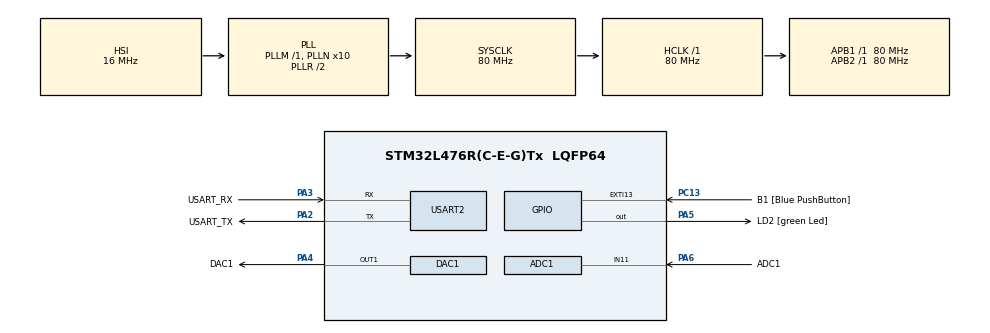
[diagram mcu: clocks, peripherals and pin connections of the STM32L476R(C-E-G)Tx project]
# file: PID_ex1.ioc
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ADC1.Channel-1\#ChannelRegularConversion=ADC_CHANNEL_11
ADC1.NbrOfConversionFlag=1
ADC1.OffsetNumber-1\#ChannelRegularConversion=ADC_OFFSET_NONE
ADC1.Rank-1\#ChannelRegularConversion=1
ADC1.SamplingTime-1\#ChannelRegularConversion=ADC_SAMPLETIME_2CYCLES_5
ADC1.master=1
Mcu.Family=STM32L4
Mcu.Name=STM32L476R(C-E-G)Tx
Mcu.Package=LQFP64
Mcu.UserConstants=TIM_PRESCALER,799;TIM_PERIOD,99
NVIC.ADC1_2_IRQn=true\:6\:0\:true\:false\:true\:true\:true\:true
NVIC.EXTI15_10_IRQn=true\:0\:0\:false\:false\:true\:true\:true\:true
NVIC.PriorityGroup=NVIC_PRIORITYGROUP_4
NVIC.USART2_IRQn=true\:5\:0\:true\:false\:true\:true\:true\:true
PA13\ (JTMS-SWDIO).GPIO_Label=TMS
PA13\ (JTMS-SWDIO).Mode=Serial_Wire
PA13\ (JTMS-SWDIO).Signal=SYS_JTMS-SWDIO
PA14\ (JTCK-SWCLK).GPIO_Label=TCK
PA14\ (JTCK-SWCLK).Mode=Serial_Wire
PA14\ (JTCK-SWCLK).Signal=SYS_JTCK-SWCLK
PA2.GPIO_Label=USART_TX
PA2.GPIO_Mode=GPIO_MODE_AF_PP
PA2.GPIO_PuPd=GPIO_NOPULL
PA2.GPIO_Speed=GPIO_SPEED_FREQ_VERY_HIGH
PA2.Mode=Asynchronous
PA2.Signal=USART2_TX
PA3.GPIO_Label=USART_RX
PA3.GPIO_Mode=GPIO_MODE_AF_PP
PA3.GPIO_PuPd=GPIO_NOPULL
PA3.GPIO_Speed=GPIO_SPEED_FREQ_VERY_HIGH
PA3.Mode=Asynchronous
PA3.Signal=USART2_RX
PA4.GPIO_Label=DAC1
PA4.Signal=COMP_DAC11_group
PA5.GPIO_Label=LD2 [green Led]
PA5.GPIO_ModeDefaultOutputPP=GPIO_MODE_OUTPUT_PP
PA5.GPIO_PuPd=GPIO_NOPULL
PA5.GPIO_Speed=GPIO_SPEED_FREQ_LOW
PA5.Signal=GPIO_Output
PA6.GPIO_Label=ADC1
PA6.Signal=ADCx_IN11
PB3\ (JTDO-TRACESWO).GPIO_Label=SWO
PB3\ (JTDO-TRACESWO).Signal=SYS_JTDO-SWO
PC13.GPIO_Label=B1 [Blue PushButton]
PC13.GPIO_ModeDefaultEXTI=GPIO_MODE_IT_FALLING
PC13.GPIO_PuPd=GPIO_NOPULL
PC13.Signal=GPXTI13
PC14-OSC32_IN\ (PC14).Mode=LSE-External-Oscillator
PC14-OSC32_IN\ (PC14).Signal=RCC_OSC32_IN
PC15-OSC32_OUT\ (PC15).Mode=LSE-External-Oscillator
PC15-OSC32_OUT\ (PC15).Signal=RCC_OSC32_OUT
PH0-OSC_IN\ (PH0).Signal=RCC_OSC_IN
PH1-OSC_OUT\ (PH1).Signal=RCC_OSC_OUT
ProjectManager.HeapSize=0x200
ProjectManager.StackSize=0x400
ProjectManager.TargetToolchain=CMake
RCC.ADCFreq_Value=64000000
RCC.AHBFreq_Value=80000000
RCC.APB1Freq_Value=80000000
RCC.APB1TimFreq_Value=80000000
RCC.APB2Freq_Value=80000000
RCC.APB2TimFreq_Value=80000000
RCC.CortexFreq_Value=80000000
RCC.HCLKFreq_Value=80000000
RCC.HSE_VALUE=8000000
RCC.HSI_VALUE=16000000
RCC.MSI_VALUE=4000000
RCC.PLLN=10
RCC.PLLSourceVirtual=RCC_PLLSOURCE_HSI
RCC.PREFETCH_ENABLE=1
RCC.SYSCLKFreq_VALUE=80000000
RCC.SYSCLKSource=RCC_SYSCLKSOURCE_PLLCLK
RCC.USBFreq_Value=64000000
RCC.VCOOutputFreq_Value=160000000
SH.ADCx_IN11.0=ADC1_IN11,IN11-Single-Ended
SH.COMP_DAC11_group.0=DAC1_OUT1,DAC_OUT1
TIM6.Period=TIM_PERIOD
TIM6.Prescaler=TIM_PRESCALER
TIM6.TIM_MasterOutputTrigger=TIM_TRGO_UPDATE
USART2.VirtualMode-Asynchronous=VM_ASYNC
VP_TIM6_VS_ClockSourceINT.Mode=Enable_Timer
board=NUCLEO-L476RG

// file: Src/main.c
/* USER CODE BEGIN Header */
/**
 ******************************************************************************
 * @file           : main.c
 * @brief          : Main program body
 ******************************************************************************
 * @attention
 *
 * <h2><center>&copy; Copyright (c) 2019 STMicroelectronics.
 * All rights reserved.</center></h2>
 *
 * This software component is licensed by ST under BSD 3-Clause license,
 * the "License"; You may not use this file except in compliance with the
 * License. You may obtain a copy of the License at:
 *                        opensource.org/licenses/BSD-3-Clause
 *
 ******************************************************************************
 */
/* USER CODE END Header */
#include "main.h"
#include "adc.h"
#include "dac.h"
#include "tim.h"
#include "usart.h"
#include "gpio.h"

/* USER CODE BEGIN Includes */
#include <math.h>
#include <stdint.h>
#include <stdio.h>
#include <stdlib.h>
#include "FreeRTOS.h"
#include "task.h"
#include "queue.h"
#include "semphr.h"

// --> include all necessary headers for
// printf() redirection
// FreeRTOS related headers
#include "pid.h"

/* USER CODE END Includes */

void SystemClock_Config(void);

/* USER CODE BEGIN 0 */

#define RX_QUEUE_SIZE 64
#define LINE_BUFF_SIZE 64

#define SET_VAL_DT 500
int _write(int file, char *ptr, int len) {
        HAL_UART_Transmit(&huart2, (uint8_t*) ptr, len, 50);
        return len;
}

SemaphoreHandle_t set_val_mutex;
QueueHandle_t measured_queue;
QueueHandle_t desired_queue;
QueueHandle_t ctrl_params_queue;
QueueHandle_t control_queue;

typedef struct
{
  float kp, ki, kd;
  float e, e_prev, e_sum;
} pid_t;

typedef struct
{
  float a, b, c;
} sin_control_t;

QueueHandle_t rx_queue;
uint8_t rx_byte;

uint32_t convert_to_mv(uint16_t control)
{
  return (uint32_t)(1000 * 3.3 * control / 4095);
}

uint16_t calculate_control(pid_t* pid, uint16_t measured, uint16_t desired)
{
  pid->e = (float)desired - (float)measured;
  float de = pid->e - pid->e_prev;
  pid->e_sum = pid->e_sum + pid->e;
  pid->e_prev = pid->e;

  float control = pid->kp * pid->e + pid->ki * pid->e_sum + pid->kd * de;

  if(control < 0.0f)
    control = 0.0f;
  if(control > 4095.0f)
    control = 4095.0f;

  return (uint16_t)control;
}

void HAL_ADC_ConvCpltCallback(ADC_HandleTypeDef *hadc) {
  if(hadc->Instance == ADC1) // Check which ADC triggered it
  {
    uint16_t adc_value = HAL_ADC_GetValue(hadc);

    BaseType_t HPTW = pdFALSE;

    xQueueSendFromISR(measured_queue, &adc_value, &HPTW);

    portYIELD_FROM_ISR(HPTW);
  }

}

void HAL_UART_RxCpltCallback(UART_HandleTypeDef *huart) {
  if(huart->Instance != USART2) return;

  BaseType_t HPTW = pdFALSE;
  xQueueSendFromISR(rx_queue, &rx_byte, &HPTW);

  HAL_UART_Receive_IT(huart, &rx_byte, 1);

  portYIELD_FROM_ISR(HPTW);
}

uint16_t sin_fun(uint32_t time, sin_control_t params)
{
  const float dac_per_volt = 4096.0f / 3.3f;
  float result = (params.a * sinf(params.b * (time/100.0f)) + params.c) * dac_per_volt;
  if (result < 0.0f)    result = 0.0f;
  if (result > 4095.0f) result = 4095.0f;
  return (uint16_t)result;
}

void measureTask(void *args) {
	TickType_t xLastWakeTime;

	xLastWakeTime = xTaskGetTickCount();

  uint16_t measured_val = 0;

	for (;;) {
    HAL_ADC_Start_IT(&hadc1);
    if (xQueueReceive(measured_queue, &measured_val, portMAX_DELAY) == pdPASS)
    {
      // printf("%u\r\n", measured_val);
    }

	}
}

void controlTask(void *args) {
	TickType_t xLastWakeTime;

  pid_t pid;
  uint32_t period_ms = 20;

	pid.kp = 4.0f;
	pid.ki = 0.3f;
	pid.kd = 0.1f;

	pid.e = 0;
	pid.e_prev = 0;
	pid.e_sum = 0;

  uint16_t measured;
  uint16_t desired;
  sin_control_t ctrl_params;
  uint16_t control_val;

	for (;;) {
    xLastWakeTime = xTaskGetTickCount();

		if (xQueuePeek(measured_queue, &measured, 100) == pdPASS) {

		}

		if (xQueuePeek(ctrl_params_queue, &ctrl_params, 100) != pdPASS) {
			// desired = 0;
		}

    uint32_t time_ms = xTaskGetTickCount() * portTICK_PERIOD_MS;

    desired = sin_fun(time_ms, ctrl_params);
    xQueueOverwrite(desired_queue, &desired);

    control_val = calculate_control(&pid, measured, desired);
		HAL_DAC_Start(&hdac1, DAC_CHANNEL_1);
		HAL_DAC_SetValue(&hdac1, DAC_CHANNEL_1, DAC_ALIGN_12B_R, control_val);

    if(xQueueOverwrite(control_queue, &control_val) != pdPASS)
    {
      // save error?
    }

    vTaskDelayUntil(&xLastWakeTime, pdMS_TO_TICKS(period_ms));
	}
}

void commTask(void *args) {
	TickType_t xLastWakeTime;
	uint32_t period_ms = 100;

	uint16_t measured = 0;
	uint16_t desired = 0;
	uint16_t control_val = 0;

	for (;;) {
    xLastWakeTime = xTaskGetTickCount();
		if (xQueuePeek(measured_queue, &measured, 100) == pdPASS) {

		}

		if (xQueuePeek(desired_queue, &desired, 100) == pdPASS) {

		}

		if (xQueuePeek(control_queue, &control_val, 100) == pdPASS) {

		}

    int16_t conv_des = convert_to_mv(desired);
    int16_t conv_mes = convert_to_mv(measured);

		// printf("mv: %ld, dv: %ld, cs: %ld\r\n", measured, desired, control_val);
		printf("%4d;%4d;%4d;%4d\r\n", convert_to_mv(measured), convert_to_mv(desired), convert_to_mv(control_val), (conv_des-conv_mes));

		vTaskDelayUntil(&xLastWakeTime, pdMS_TO_TICKS(period_ms));
	}
}

void userTask(void *args) {
	TickType_t xLastWakeTime;

	xLastWakeTime = xTaskGetTickCount();

  uint8_t byte;
  sin_control_t sin_desired_values = {1.0f, 0.1f, 1.65f};
  xQueueOverwrite(ctrl_params_queue, &sin_desired_values);

	for (;;) {
    if(xQueueReceive(rx_queue, &byte, portMAX_DELAY) != pdTRUE)
      continue;

    switch (byte) {
      case 'x':
        sin_desired_values.c = 0.0f;
        break;
      case 'y':
        sin_desired_values.c = 1.0f;
        break;
      case 'z':
        sin_desired_values.c = 1.65;
        break;

      case '0':
        sin_desired_values.a = 0.5f;
        break;
      case '1':
        sin_desired_values.a = 1.0f;
        break;
      case '2':
        sin_desired_values.a = 2.0;
        break;

      case 'a':
        sin_desired_values.b = 0.1f;
        break;
      case 'b':
        sin_desired_values.b = 0.5f;
        break;
      case 'c':
        sin_desired_values.b = 0.8;
        break;

      default:
        // printf("error\r\n");
    }

    xQueueOverwrite(ctrl_params_queue, &sin_desired_values);
	}
}

/* USER CODE END 0 */

int main(void)
{

  /* MCU Configuration--------------------------------------------------------*/

  /* Reset of all peripherals, Initializes the Flash interface and the Systick. */
  HAL_Init();

  /* Configure the system clock */
  SystemClock_Config();

  /* Initialize all configured peripherals */
  MX_GPIO_Init();
  MX_USART2_UART_Init();
  MX_ADC1_Init();
  MX_TIM6_Init();
  MX_DAC1_Init();

  HAL_ADC_Start(&hadc1);
  /* USER CODE BEGIN 2 */
  rx_queue = xQueueCreate(RX_QUEUE_SIZE, sizeof(uint8_t));

	// mutex = xSemaphoreCreateMutex();

	measured_queue = xQueueCreate(1, sizeof(uint16_t));
	control_queue = xQueueCreate(1, sizeof(uint16_t));
	desired_queue = xQueueCreate(1, sizeof(uint16_t));
	ctrl_params_queue = xQueueCreate(1, sizeof(sin_control_t));

  HAL_UART_Receive_IT(&huart2, &rx_byte, 1);
	// enable UART receive in interrupt mode

	// --> create all necessary synchronization mechanisms
	// --> create all necessary tasks
	// printf("Starting!\r\n");

  xTaskCreate(userTask, "user_task", 256, NULL, 1, NULL);
  xTaskCreate(measureTask, "measure_task", 256, NULL, 1, NULL);
  xTaskCreate(controlTask, "control_task", 256, NULL, 1, NULL);
  xTaskCreate(commTask, "comm_task", 256, NULL, 1, NULL);
	// --> start FreeRTOS scheduler
	vTaskStartScheduler();

	// --> start FreeRTOS scheduler

  /* USER CODE END 2 */

  /* Infinite loop */
	while (1) {

	}
}

void SystemClock_Config(void)
{
  RCC_OscInitTypeDef RCC_OscInitStruct = {0};
  RCC_ClkInitTypeDef RCC_ClkInitStruct = {0};

  /** Configure the main internal regulator output voltage
  */
  if (HAL_PWREx_ControlVoltageScaling(PWR_REGULATOR_VOLTAGE_SCALE1) != HAL_OK)
  {
    Error_Handler();
  }

  /** Initializes the RCC Oscillators according to the specified parameters
  * in the RCC_OscInitTypeDef structure.
  */
  RCC_OscInitStruct.OscillatorType = RCC_OSCILLATORTYPE_HSI;
  RCC_OscInitStruct.HSIState = RCC_HSI_ON;
  RCC_OscInitStruct.HSICalibrationValue = RCC_HSICALIBRATION_DEFAULT;
  RCC_OscInitStruct.PLL.PLLState = RCC_PLL_ON;
  RCC_OscInitStruct.PLL.PLLSource = RCC_PLLSOURCE_HSI;
  RCC_OscInitStruct.PLL.PLLM = 1;
  RCC_OscInitStruct.PLL.PLLN = 10;
  RCC_OscInitStruct.PLL.PLLP = RCC_PLLP_DIV7;
  RCC_OscInitStruct.PLL.PLLQ = RCC_PLLQ_DIV2;
  RCC_OscInitStruct.PLL.PLLR = RCC_PLLR_DIV2;
  if (HAL_RCC_OscConfig(&RCC_OscInitStruct) != HAL_OK)
  {
    Error_Handler();
  }

  /** Initializes the CPU, AHB and APB buses clocks
  */
  RCC_ClkInitStruct.ClockType = RCC_CLOCKTYPE_HCLK|RCC_CLOCKTYPE_SYSCLK
                              |RCC_CLOCKTYPE_PCLK1|RCC_CLOCKTYPE_PCLK2;
  RCC_ClkInitStruct.SYSCLKSource = RCC_SYSCLKSOURCE_PLLCLK;
  RCC_ClkInitStruct.AHBCLKDivider = RCC_SYSCLK_DIV1;
  RCC_ClkInitStruct.APB1CLKDivider = RCC_HCLK_DIV1;
  RCC_ClkInitStruct.APB2CLKDivider = RCC_HCLK_DIV1;

  if (HAL_RCC_ClockConfig(&RCC_ClkInitStruct, FLASH_LATENCY_4) != HAL_OK)
  {
    Error_Handler();
  }
}

void Error_Handler(void)
{
}
